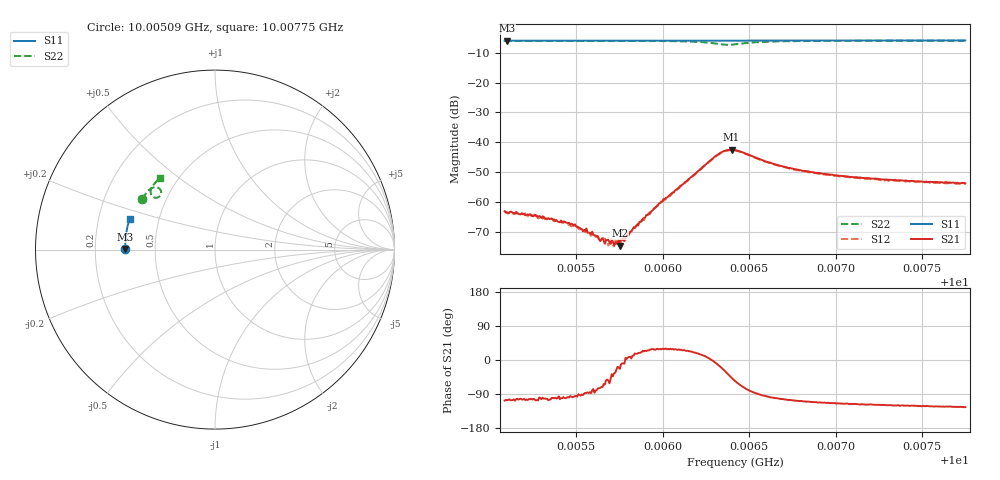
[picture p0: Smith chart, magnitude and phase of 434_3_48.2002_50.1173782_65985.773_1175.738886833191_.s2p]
#  HZ  S  RI  R  50.00
! Rohde & Schwarz Vector Network Analyzer
! Rohde-Schwarz,ZNB20-2Port,1311601062101988,3.16
! Created: UTC 3/20/2024, 11:55:34 AM
! freq[Hz]  re:S11  im:S11  re:S21  im:S21  re:S12  im:S12  re:S22  im:S22
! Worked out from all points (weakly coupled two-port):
!   401 points, 10.00509 GHz to 10.00775 GHz, reference 50 ohm
!   highest |S21| = -42.45 dB at 10.0064 GHz (marker M1); lowest = -74.6 dB at 10.00575 GHz (marker M2)
!   lowest |S11| = -6.0 dB at 10.0051 GHz (marker M3), VSWR 3.00, Z = 16.7 + j0.169 ohm
!   |S11| at or under -10 dB: nowhere
!   |S22| runs from -7.4 to -6.0 dB; largest |S21 - S12| = 0.00046
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1.0005086e10  -0.5002 0.00296  -0.000206 -0.000669  -0.000171 -0.000685  -0.4064 0.2825
1.0005099e10  -0.5 0.00381  -0.000186 -0.000649  -0.000134 -0.000641  -0.4059 0.2832
1.0005272e10  -0.5001 0.015  -0.00016 -0.000562  -0.000113 -0.000571  -0.3993 0.2935
1.0005352e10  -0.5002 0.0201  -0.000124 -0.00051  -9.79e-05 -0.000517  -0.396 0.2981
1.0005465e10  -0.5001 0.0276  -3.68e-05 -0.000425  -5.33e-05 -0.000401  -0.3912 0.3049
1.0005532e10  -0.5 0.032  -6.14e-06 -0.000353  3.58e-05 -0.000345  -0.3882 0.3089
1.0005605e10  -0.4997 0.0368  1.83e-05 -0.000276  6.47e-05 -0.000268  -0.3846 0.3134
1.0005652e10  -0.4996 0.0397  7.8e-05 -0.000231  0.000106 -0.000227  -0.3823 0.3163
1.0005698e10  -0.4995 0.0428  0.00013 -0.000156  0.000143 -0.00014  -0.3799 0.3191
1.0005725e10  -0.4994 0.0445  0.000168 -0.000112  0.000208 -0.000131  -0.3784 0.3209
1.0005752e10  -0.4993 0.0463  0.000171 -7.42e-05  0.000183 -6.31e-05  -0.377 0.3224
1.0005765e10  -0.4993 0.047  0.000238 -3.66e-05  0.000225 -3.37e-05  -0.3763 0.3234
1.0005872e10  -0.4987 0.054  0.000442 0.000153  0.000423 0.000173  -0.3694 0.3302
1.0005978e10  -0.4982 0.061  0.000829 0.000443  0.000769 0.000501  -0.3613 0.3373
1.0006311e10  -0.4952 0.0823  0.00595 -0.000976  0.00591 -0.000668  -0.3019 0.3284
1.0006358e10  -0.4946 0.085  0.00632 -0.00343  0.00636 -0.00308  -0.302 0.3065
1.0006398e10  -0.4944 0.0873  0.00518 -0.00549  0.00535 -0.00512  -0.3158 0.2919
1.0006418e10  -0.4942 0.0885  0.0042 -0.00611  0.00447 -0.00576  -0.3249 0.289
1.0006644e10  -0.4925 0.1031  -0.000737 -0.00424  -0.000541 -0.00423  -0.3584 0.3281
1.0006864e10  -0.4899 0.117  -0.00112 -0.00297  -0.000971 -0.00295  -0.3491 0.3516
1.000731e10  -0.4833 0.1451  -0.00116 -0.00206  -0.00106 -0.00209  -0.3265 0.3796
1.000775e10  -0.4752 0.1723  -0.00116 -0.0017  -0.00105 -0.00173  -0.304 0.4006
